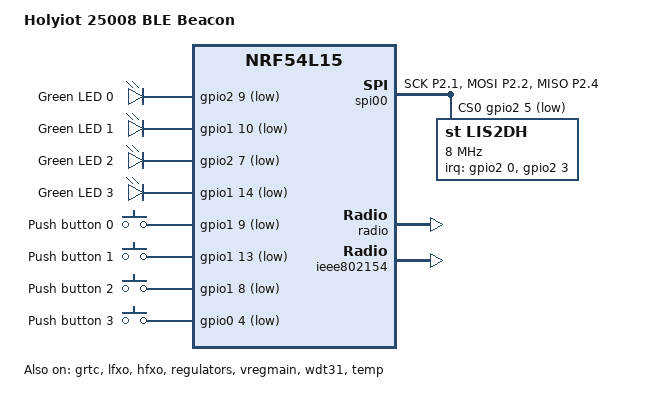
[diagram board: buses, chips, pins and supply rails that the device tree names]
/dts-v1/;
#include <nordic/nrf54l15_cpuapp.dtsi>
#include "holyiot_25008-pinctrl.dtsi"

/ {
	model = "Holyiot 25008 BLE Beacon";
	compatible = "holyiot,holyiot-25008-cpuapp";

	chosen {
		zephyr,code-partition = &slot0_partition;
		zephyr,sram = &cpuapp_sram;
		zephyr,flash = &cpuapp_rram;
		zephyr,flash-controller = &rram_controller;
	};
};

&grtc {
	owned-channels = <0 1 2 3 4 5 6 7 8 9 10 11>;
	/* Channels 7-11 reserved for Zero Latency IRQs, 3-4 for FLPR */
	child-owned-channels = <3 4 7 8 9 10 11>;
	status = "okay";
};

&cpuapp_sram {
	status = "okay";
};

/ {
	leds {
		compatible = "gpio-leds";

		led0: led_0 {
			gpios = <&gpio2 9 GPIO_ACTIVE_LOW>;
			label = "Green LED 0";
		};

		led1: led_1 {
			gpios = <&gpio1 10 GPIO_ACTIVE_LOW>;
			label = "Green LED 1";
		};

		led2: led_2 {
			gpios = <&gpio2 7 GPIO_ACTIVE_LOW>;
			label = "Green LED 2";
		};

		led3: led_3 {
			gpios = <&gpio1 14 GPIO_ACTIVE_LOW>;
			label = "Green LED 3";
		};
	};

	buttons {
		compatible = "gpio-keys";

		button0: button_0 {
			gpios = <&gpio1 9 (GPIO_PULL_UP | GPIO_ACTIVE_LOW)>;
			label = "Push button 0";
			zephyr,code = <INPUT_KEY_0>;
		};

		button1: button_1 {
			gpios = <&gpio1 13 (GPIO_PULL_UP | GPIO_ACTIVE_LOW)>;
			label = "Push button 1";
			zephyr,code = <INPUT_KEY_1>;
		};

		button2: button_2 {
			gpios = <&gpio1 8 (GPIO_PULL_UP | GPIO_ACTIVE_LOW)>;
			label = "Push button 2";
			zephyr,code = <INPUT_KEY_2>;
		};

		button3: button_3 {
			gpios = <&gpio0 4 (GPIO_PULL_UP | GPIO_ACTIVE_LOW)>;
			label = "Push button 3";
			zephyr,code = <INPUT_KEY_3>;
		};
	};

	aliases {
		led0 = &led0;
		led1 = &led1;
		led2 = &led2;
		led3 = &led3;
		sw0 = &button0;
		sw1 = &button1;
		sw2 = &button2;
		sw3 = &button3;
		watchdog0 = &wdt31;
	};
};

/{
    aliases {
        accel0 = &lis2dh;
    };
};

&pinctrl {
	/omit-if-no-ref/ spi00_default: spi00_default {
		group1 {
			psels = <NRF_PSEL(SPIM_SCK, 2, 1)>,
				<NRF_PSEL(SPIM_MOSI, 2, 2)>,
				<NRF_PSEL(SPIM_MISO, 2, 4)>;
		};
	};

	/omit-if-no-ref/ spi00_sleep: spi00_sleep {
		group1 {
			psels = <NRF_PSEL(SPIM_SCK, 2, 1)>,
				<NRF_PSEL(SPIM_MOSI, 2, 2)>,
				<NRF_PSEL(SPIM_MISO, 2, 4)>;
			low-power-enable;
		};
	};
};

&spi00 {
	status = "okay";
	cs-gpios = <&gpio2 5 GPIO_ACTIVE_LOW>;
	pinctrl-0 = <&spi00_default>;
	pinctrl-1 = <&spi00_sleep>;
	pinctrl-names = "default", "sleep";

	lis2dh: lis2dh@0 {
		compatible = "st,lis2dh", "st,lis2dh12";
		reg = <0>;
		spi-max-frequency = <8000000>;
		irq-gpios = <&gpio2 0 GPIO_ACTIVE_HIGH>, <&gpio2 3 GPIO_ACTIVE_HIGH>;
		status = "okay";
	};
};

&cpuapp_sram {
	status = "okay";
};

&lfxo {
	load-capacitors = "internal";
	load-capacitance-femtofarad = <16000>;
	status = "okay";
};

&hfxo {
	load-capacitors = "internal";
	load-capacitance-femtofarad = <15000>;
	status = "okay";
};

&regulators {
	status = "okay";
};

&vregmain {
	status = "okay";
	regulator-initial-mode = <NRF5X_REG_MODE_DCDC>;
};

&gpio0 {
	status = "okay";
};

&gpio1 {
	status = "okay";
};

&gpio2 {
	status = "okay";
};

&gpiote20 {
	status = "okay";
};

&gpiote30 {
	status = "okay";
};

&wdt31 {
	status = "okay";
};

&radio {
	status = "okay";
};

&ieee802154 {
	status = "okay";
};

&temp {
	status = "okay";
};

&clock {
	status = "okay";
};

#include <nordic/nrf54l15_partition.dtsi>

